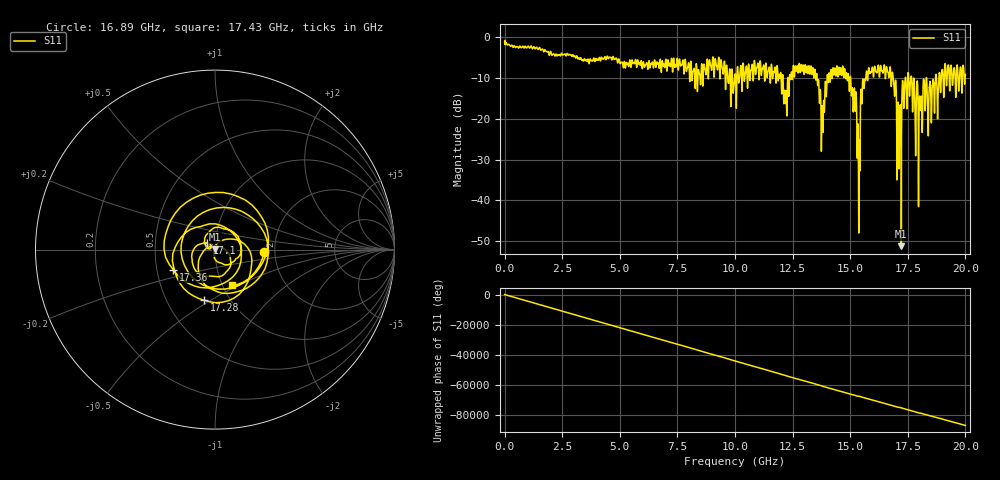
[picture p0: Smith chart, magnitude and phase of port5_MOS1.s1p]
! MS46122B
! 2250307/22442219
! 6/18/2025 7:54:12 AM
! C:\USERS\SPARKY\DOCUMENTS\VNA_DATA\JUNE18_2025\3.0K\PORT5_MOS1.S1P
! CHANNEL.1
! TR.MEASUREMENT
! RAW.DATA
# GHZ S RI R 50.0
! FREQ.GHZ  S11RE  S11IM
!; PortSelection: Port_1
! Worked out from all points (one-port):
!   10001 points, 1 MHz to 20 GHz, reference 50 ohm
!   lowest |S11| = -51.3 dB at 17.22 GHz (marker M1), VSWR 1.01, Z = 49.8 + j0.225 ohm
!   |S11| at or under -10 dB: 15.02 GHz to 15.68 GHz (657.3 MHz wide, 4.28 % of centre); 16.87 GHz to 17.39 GHz (522.5 MHz wide, 3.05 % of centre); 17.76 GHz to 18.3 GHz (543.3 MHz wide, 3.01 % of centre) (the widest 3 of 61)
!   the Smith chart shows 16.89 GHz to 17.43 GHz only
!   S11 on the Smith chart (normalised r, x): 16.89 GHz: 1.75, -0.04; 17.1 GHz: 0.91, +0.07; 17.28 GHz: 0.76, -0.47; 17.36 GHz: 0.61, -0.15; 17.43 GHz: 1.11, -0.47
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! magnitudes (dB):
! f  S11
! 1 MHz  -1.1
! 2.501 GHz  -4.2
! 5.001 GHz  -6.3
! 7.501 GHz  -5.2
! 9.221 GHz  -7.4
! 10 GHz  -9.1
! 11.16 GHz  -8.1
! 12.19 GHz  -15.7
! 12.5 GHz  -9.5
! 13.38 GHz  -7.5
! 13.8 GHz  -20.2
! 14.25 GHz  -7.5
! 15 GHz  -9.8
! 15.36 GHz  -29.0
! 15.54 GHz  -10.6
! 15.73 GHz  -9.4
! 16.89 GHz  -11.2
! 17.1 GHz  -24.7
! 17.22 GHz  -51.3
! 17.28 GHz  -10.8
! 17.36 GHz  -11.8
! 17.43 GHz  -13.1
! 17.5 GHz  -9.1
! 18.05 GHz  -16.6
! 18.25 GHz  -18.0
! 18.45 GHz  -11.5
! 19.19 GHz  -11.7
! 20 GHz  -9.1
